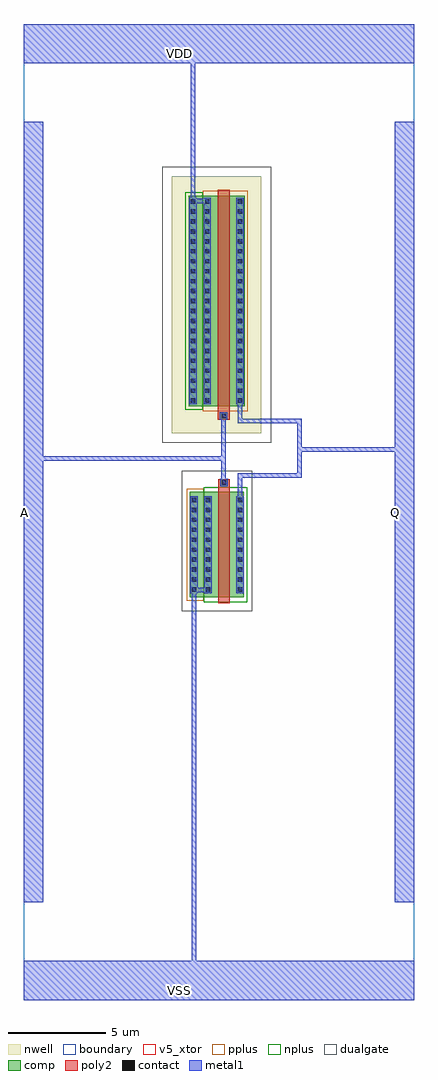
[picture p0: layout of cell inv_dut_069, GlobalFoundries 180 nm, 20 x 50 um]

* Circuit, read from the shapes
.subckt inv_dut_069 A Q VDD VSS
XM1 Q A VSS VSS nfet_05v0 w=5.4u l=0.6u
XM2 Q A VDD VDD pfet_05v0 w=10.8u l=0.6u
.ends

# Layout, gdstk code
from math import pi, radians
import gdstk
lib = gdstk.Library(unit=1e-6, precision=1e-09)
def R(c, l, rs):  # rectangles x0, y0, x1, y1
    for r in rs: c.add(gdstk.rectangle(r[:2], r[2:], *l))
def A(c, l, x, y, w, h, nx, ny, dx, dy):  # array of equal rectangles
    R(c, l, [(x+i*dx, y+j*dy, x+i*dx+w, y+j*dy+h) for i in range(nx) for j in range(ny)])
boundary = (0, 0)
nwell = (21, 0)
comp = (22, 0)
poly2 = (30, 0)
pplus = (31, 0)
nplus = (32, 0)
contact = (33, 0)
metal1 = (34, 0)
dualgate = (55, 0)
v5_xtor = (112, 1)

pfet = lib.new_cell('pfet')
R(pfet, nwell, [(-1.32,-0.99,3.27,12.17)])
R(pfet, comp, [(-0.46,0,2.41,10.8)])
R(pfet, poly2, [(0.31,-0.3,0.91,11.48)])
R(pfet, pplus, [(-0.63,-0.24,1.68,11.04)])
R(pfet, nplus, [(1.68,-0.17,2.58,10.97)])
A(pfet, contact, -0.34, 0.19, 0.22, 0.22, 1, 21, 0, 0.51)
A(pfet, contact, 1.34, 0.19, 0.22, 0.22, 1, 21, 0, 0.51)
A(pfet, contact, 2.07, 0.19, 0.22, 0.22, 1, 21, 0, 0.51)
R(pfet, contact, [(0.5,11.18,0.72,11.4)])
R(pfet, metal1, [(-0.42,0.11,-0.04,10.69), (1.26,0.11,1.64,10.69), (1.99,0.11,2.37,10.69), (0.42,11.1,0.8,11.48)])
R(pfet, dualgate, [(-1.82,-1.49,3.77,12.67)])
R(pfet, v5_xtor, [(-1.82,-1.49,3.77,12.67)])

nfet = lib.new_cell('nfet')
R(nfet, comp, [(-0.42,0,2.35,5.4)])
R(nfet, poly2, [(0.31,-0.3,0.91,6.06)])
R(nfet, pplus, [(1.64,-0.17,2.52,5.57)])
R(nfet, nplus, [(-0.59,-0.24,1.64,5.64)])
A(nfet, contact, -0.32, 0.295, 0.22, 0.22, 1, 10, 0, 0.51)
A(nfet, contact, 1.32, 0.295, 0.22, 0.22, 1, 10, 0, 0.51)
A(nfet, contact, 2.03, 0.295, 0.22, 0.22, 1, 10, 0, 0.51)
R(nfet, contact, [(0.5,5.77,0.72,5.99)])
R(nfet, metal1, [(-0.4,0.215,-0.02,5.185), (1.24,0.215,1.62,5.185), (1.95,0.215,2.33,5.185), (0.42,5.69,0.8,6.07)])
R(nfet, dualgate, [(-0.84,-0.71,2.77,6.48)])
R(nfet, v5_xtor, [(-0.84,-0.71,2.77,6.48)])

inv_dut_069 = lib.new_cell('inv_dut_069')
R(inv_dut_069, boundary, [(-10,-25,10,25)])
R(inv_dut_069, metal1, [(-10,-25,10,-23), (-10,-20,-9,20), (9,-20,10,20), (-10,23,10,25)])
inv_dut_069.add(gdstk.FlexPath([(-1.32,15.8),(-1.32,23.45),(1.26,23.45)], 0.23, ends="flush", simple_path=True, layer=34, datatype=0))  # metal1
inv_dut_069.add(gdstk.FlexPath([(-1.33,15.925),(-0.485,15.925)], 0.23, ends="flush", simple_path=True, layer=34, datatype=0))  # metal1
inv_dut_069.add(gdstk.FlexPath([(0.24,4.915),(0.24,1.395)], 0.23, ends="flush", simple_path=True, layer=34, datatype=0))  # metal1
inv_dut_069.add(gdstk.FlexPath([(0.235,2.745),(-9.285,2.745),(-9.285,2.215)], 0.23, ends="flush", simple_path=True, layer=34, datatype=0))  # metal1
inv_dut_069.add(gdstk.FlexPath([(1.065,5.69),(1.065,4.65),(4.13,4.65),(4.13,1.86),(1.065,1.86),(1.065,0.6)], 0.23, ends="flush", simple_path=True, layer=34, datatype=0))  # metal1
inv_dut_069.add(gdstk.FlexPath([(4.16,3.2),(9.41,3.2)], 0.23, ends="flush", simple_path=True, layer=34, datatype=0))  # metal1
inv_dut_069.add(gdstk.FlexPath([(-1.29,-3.91),(-1.29,-23.96)], 0.23, ends="flush", simple_path=True, layer=34, datatype=0))  # metal1
inv_dut_069.add(gdstk.FlexPath([(-0.555,-3.985),(-1.35,-3.985)], 0.23, ends="flush", simple_path=True, layer=34, datatype=0))  # metal1
inv_dut_069.add(gdstk.Reference(pfet, (0.85,16.205), rotation=pi))
inv_dut_069.add(gdstk.Reference(nfet, (0.86,-4.375), rotation=pi, x_reflection=True))
inv_dut_069.add(gdstk.Label('VDD', (-2,23.5), layer=34, texttype=10))
inv_dut_069.add(gdstk.Label('VSS', (-2,-24.5), layer=34, texttype=10))
inv_dut_069.add(gdstk.Label('A', (-9.97,0), layer=34, texttype=10))
inv_dut_069.add(gdstk.Label('Q', (9.03,0), layer=34, texttype=10))

lib.write_gds('inv_dut_069.gds')
